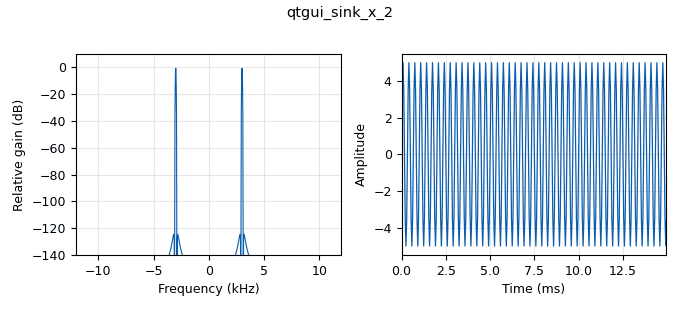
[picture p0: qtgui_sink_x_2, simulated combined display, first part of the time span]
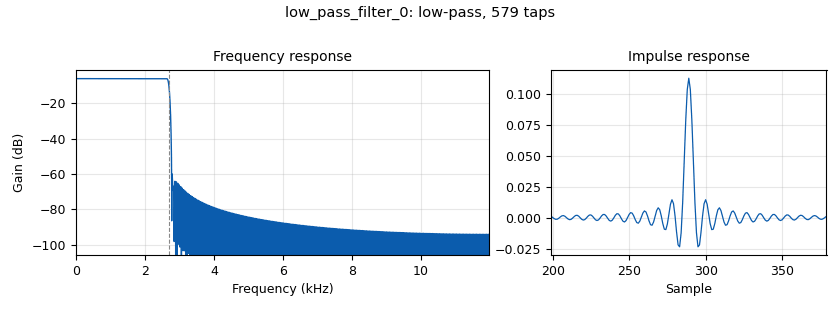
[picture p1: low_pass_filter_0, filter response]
<?xml version='1.0' encoding='utf-8'?>
<?grc format='1' created='3.7.10'?>
<flow_graph>
<block>
<key>options</key>
<param><key>id</key><value>scrambler</value></param>
<param><key>generate_options</key><value>qt_gui</value></param>
</block>
<block>
<key>variable</key>
<param><key>id</key><value>samp_rate</value></param>
<param><key>value</key><value>24000</value></param>
</block>
<block>
<key>analog_sig_source_x</key>
<param><key>id</key><value>analog_sig_source_x_1</value></param>
<param><key>amp</key><value>5</value></param>
<param><key>freq</key><value>3000</value></param>
<param><key>offset</key><value>0</value></param>
<param><key>type</key><value>float</value></param>
<param><key>samp_rate</key><value>samp_rate</value></param>
<param><key>waveform</key><value>analog.GR_SIN_WAVE</value></param>
</block>
<block>
<key>audio_sink</key>
<param><key>id</key><value>audio_sink_0</value></param>
<param><key>samp_rate</key><value>samp_rate</value></param>
</block>
<block>
<key>blocks_multiply_xx</key>
<param><key>id</key><value>blocks_multiply_xx_0</value></param>
<param><key>type</key><value>float</value></param>
</block>
<block>
<key>blocks_wavfile_sink</key>
<param><key>id</key><value>blocks_wavfile_sink_0</value></param>
<param><key>bits_per_sample</key><value>16</value></param>
<param><key>file</key><value>/home/user/scramout.wav</value></param>
<param><key>samp_rate</key><value>samp_rate</value></param>
</block>
<block>
<key>blocks_wavfile_sink</key>
<param><key>id</key><value>blocks_wavfile_sink_1</value></param>
<param><key>bits_per_sample</key><value>8</value></param>
<param><key>_enabled</key><value>0</value></param>
<param><key>file</key><value>/home/user/scramfinal.wav</value></param>
<param><key>samp_rate</key><value>samp_rate</value></param>
</block>
<block>
<key>blocks_wavfile_source</key>
<param><key>id</key><value>blocks_wavfile_source_0</value></param>
<param><key>file</key><value>/home/user/scramtest2b.wav</value></param>
<param><key>repeat</key><value>False</value></param>
</block>
<block>
<key>blocks_wavfile_source</key>
<param><key>id</key><value>blocks_wavfile_source_1</value></param>
<param><key>_enabled</key><value>0</value></param>
<param><key>file</key><value>/home/user/scramout.wav</value></param>
<param><key>repeat</key><value>True</value></param>
</block>
<block>
<key>low_pass_filter</key>
<param><key>id</key><value>low_pass_filter_0</value></param>
<param><key>cutoff_freq</key><value>2700</value></param>
<param><key>decim</key><value>1</value></param>
<param><key>type</key><value>fir_filter_fff</value></param>
<param><key>gain</key><value>0.5</value></param>
<param><key>samp_rate</key><value>samp_rate</value></param>
<param><key>width</key><value>100</value></param>
<param><key>win</key><value>firdes.WIN_HAMMING</value></param>
</block>
<block>
<key>qtgui_sink_x</key>
<param><key>id</key><value>qtgui_sink_x_0</value></param>
<param><key>bw</key><value>samp_rate</value></param>
<param><key>fc</key><value>0</value></param>
<param><key>freqchangevar</key><value>None</value></param>
<param><key>fftsize</key><value>1024</value></param>
<param><key>showports</key><value>True</value></param>
<param><key>showrf</key><value>True</value></param>
<param><key>type</key><value>float</value></param>
<param><key>wintype</key><value>firdes.WIN_BLACKMAN_hARRIS</value></param>
</block>
<block>
<key>qtgui_sink_x</key>
<param><key>id</key><value>qtgui_sink_x_1</value></param>
<param><key>bw</key><value>samp_rate</value></param>
<param><key>fc</key><value>0</value></param>
<param><key>freqchangevar</key><value>None</value></param>
<param><key>_enabled</key><value>0</value></param>
<param><key>fftsize</key><value>1024</value></param>
<param><key>showports</key><value>True</value></param>
<param><key>type</key><value>float</value></param>
<param><key>wintype</key><value>firdes.WIN_BLACKMAN_hARRIS</value></param>
</block>
<block>
<key>qtgui_sink_x</key>
<param><key>id</key><value>qtgui_sink_x_2</value></param>
<param><key>bw</key><value>samp_rate</value></param>
<param><key>fc</key><value>0</value></param>
<param><key>freqchangevar</key><value>None</value></param>
<param><key>fftsize</key><value>1024</value></param>
<param><key>showports</key><value>True</value></param>
<param><key>showrf</key><value>True</value></param>
<param><key>type</key><value>float</value></param>
<param><key>wintype</key><value>firdes.WIN_BLACKMAN_hARRIS</value></param>
</block>
<connection><source_block_id>analog_sig_source_x_1</source_block_id><sink_block_id>blocks_multiply_xx_0</sink_block_id><source_key>0</source_key><sink_key>1</sink_key></connection>
<connection><source_block_id>analog_sig_source_x_1</source_block_id><sink_block_id>qtgui_sink_x_2</sink_block_id><source_key>0</source_key><sink_key>0</sink_key></connection>
<connection><source_block_id>blocks_multiply_xx_0</source_block_id><sink_block_id>low_pass_filter_0</sink_block_id><source_key>0</source_key><sink_key>0</sink_key></connection>
<connection><source_block_id>blocks_wavfile_source_0</source_block_id><sink_block_id>blocks_multiply_xx_0</sink_block_id><source_key>0</source_key><sink_key>0</sink_key></connection>
<connection><source_block_id>blocks_wavfile_source_0</source_block_id><sink_block_id>qtgui_sink_x_1</sink_block_id><source_key>0</source_key><sink_key>0</sink_key></connection>
<connection><source_block_id>blocks_wavfile_source_1</source_block_id><sink_block_id>blocks_multiply_xx_0</sink_block_id><source_key>0</source_key><sink_key>0</sink_key></connection>
<connection><source_block_id>low_pass_filter_0</source_block_id><sink_block_id>audio_sink_0</sink_block_id><source_key>0</source_key><sink_key>0</sink_key></connection>
<connection><source_block_id>low_pass_filter_0</source_block_id><sink_block_id>blocks_wavfile_sink_0</sink_block_id><source_key>0</source_key><sink_key>0</sink_key></connection>
<connection><source_block_id>low_pass_filter_0</source_block_id><sink_block_id>blocks_wavfile_sink_1</sink_block_id><source_key>0</source_key><sink_key>0</sink_key></connection>
<connection><source_block_id>low_pass_filter_0</source_block_id><sink_block_id>qtgui_sink_x_0</sink_block_id><source_key>0</source_key><sink_key>0</sink_key></connection>
</flow_graph>
